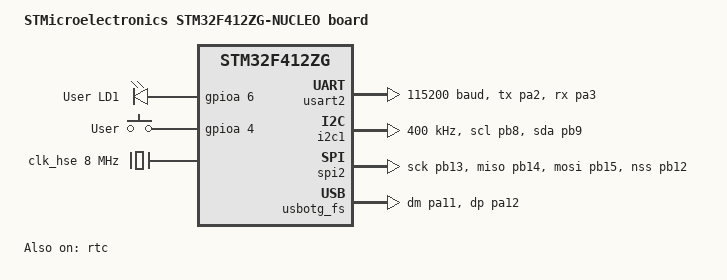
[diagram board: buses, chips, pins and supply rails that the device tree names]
/*
 * Copyright (c) 2026 David van Rijn, Dent-IoT
 *
 * SPDX-License-Identifier: Apache-2.0
 */

/dts-v1/;
#include <st/f4/stm32f412Xg.dtsi>
#include <st/f4/stm32f412z(e-g)tx-pinctrl.dtsi>
#include <zephyr/dt-bindings/input/input-event-codes.h>

/ {
	model = "STMicroelectronics STM32F412ZG-NUCLEO board";
	compatible = "st,stm32f412zg-nucleo";

	chosen {
		zephyr,console = &usart2;
		zephyr,shell-uart = &usart2;
		zephyr,sram = &sram0;
		zephyr,flash = &flash0;
	};

	leds: leds {
		compatible = "gpio-leds";
		white_led: led0 {
			gpios = <&gpioa 6 GPIO_ACTIVE_HIGH>;
			label = "User LD1";
		};
	};

	gpio_keys {
		compatible = "gpio-keys";

		user_button: button {
			label = "User";
			gpios = <&gpioa 4 GPIO_ACTIVE_HIGH>;
			zephyr,code = <INPUT_KEY_0>;
		};
	};

	aliases {
		led0 = &white_led;
		sw0 = &user_button;
	};
};

&clk_lsi {
	status = "okay";
};

&clk_hse {
	clock-frequency = <DT_FREQ_M(8)>; /* STLink 8MHz clock */
	status = "okay";
};

&pll {
	div-m = <8>;
	mul-n = <384>;
	div-p = <4>;
	div-q = <8>;
	clocks = <&clk_hse>;
	status = "okay";
};

&rcc {
	clocks = <&pll>;
	clock-frequency = <DT_FREQ_M(96)>;
	ahb-prescaler = <1>;
	apb1-prescaler = <2>;
	apb2-prescaler = <1>;
};

&usart2 {
	pinctrl-0 = <&usart2_tx_pa2 &usart2_rx_pa3>;
	pinctrl-names = "default";
	current-speed = <115200>;
	status = "okay";
};

lepton_i2c: &i2c1 {
	pinctrl-0 = <&i2c1_scl_pb8 &i2c1_sda_pb9>;
	pinctrl-names = "default";
	status = "okay";
	clock-frequency = <I2C_BITRATE_FAST>;
};

lepton_spi: &spi2 {
	pinctrl-0 = <&spi2_sck_pb13 &spi2_miso_pb14 &spi2_mosi_pb15 &spi2_nss_pb12>;
	pinctrl-names = "default";
	status = "okay";
};

zephyr_udc0: &usbotg_fs {
	pinctrl-0 = <&usb_otg_fs_dm_pa11 &usb_otg_fs_dp_pa12>;
	pinctrl-names = "default";
	status = "okay";
};


&rtc {
	clocks = <&rcc STM32_CLOCK(APB1, 28)>,
		 <&rcc STM32_SRC_LSI RTC_SEL(2)>;
	status = "okay";
};


